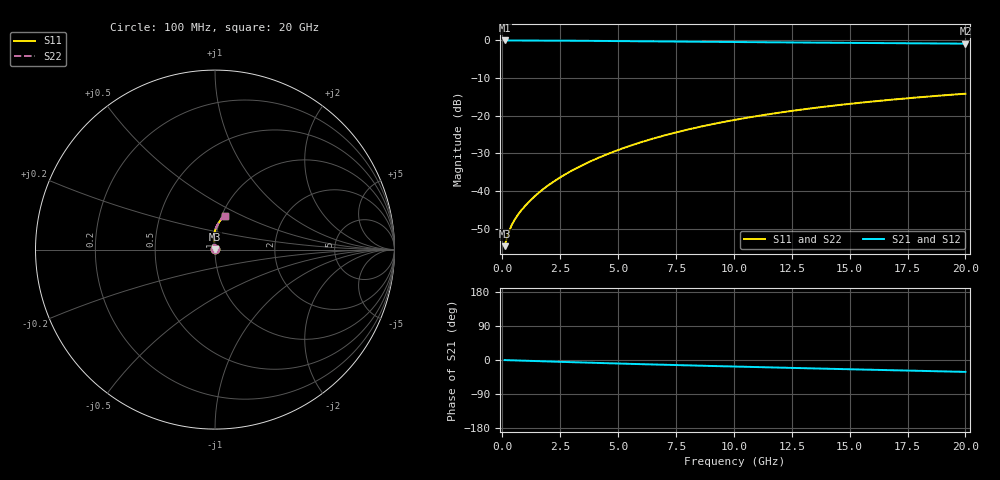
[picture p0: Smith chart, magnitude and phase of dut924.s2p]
! Touchstone file exported from HFSS 2024.1.0
!  File:  C:/UserFiles/LocalFiles/RDL_TSV_Batchsim/temp_RDL_bottom_924_1779941070.aedt
!  Generated:  12:06:41 PM May 28, 2026
!  Design:  RDL_bottom
!  Project:  temp_RDL_bottom_924_1779941070
!  Setup:  Setup1
!  Solution:  Sweep
! Variables:
!  dtsv = 10.80580581um
!  hbump = 3um
!  htsv = 81.93um
!  ldown = 518.79um
!  lrdl = 100um
!  p = 40
!  p1 = 43.02um
!  rhole = 1um
!  t = 450um
!  tdown = 4.53um
!  trdl = 3.915915916um
!  wdown = 28.62um
!  wrdl = 20um
# GHz S MA R 50.000000
! Terminal data exported
! Port[1] = RDL1_T1
! Port[2] = RDL1_T2
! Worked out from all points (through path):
!   200 points, 100 MHz to 20 GHz, reference 50 ohm
!   highest |S21| = -0.01 dB at 100 MHz (marker M1); lowest = -0.9 dB at 20 GHz (marker M2)
!   group delay of S21, straight-line fit = 4.28 ps
!   lowest |S11| = -54.6 dB at 100 MHz (marker M3), VSWR 1.00, Z = 50.2 + j0.0831 ohm
!   |S11| at or under -10 dB: start of sweep to end of sweep
!   |S22| runs from -54.6 to -14.1 dB; largest |S21 - S12| = 4.1e-15
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0.1  0.001861 26.4  0.9983 -0.2  0.9983 -0.2  0.001861 26.4
! Gamma 0 0 0 0
! Port Impedance 50 0 50 0
0.2  0.002403 41.0  0.9981 -0.4  0.9981 -0.4  0.002402 41.0
0.3  0.002974 48.5  0.9979 -0.6  0.9979 -0.6  0.002973 48.4
0.4  0.003508 53.3  0.9977 -0.8  0.9977 -0.8  0.003506 53.3
0.5  0.004008 57.1  0.9976 -1.0  0.9976 -1.0  0.004005 57.1
0.6  0.004491 60.4  0.9974 -1.2  0.9974 -1.2  0.004487 60.4
0.8  0.005452 66.0  0.9971 -1.6  0.9971 -1.6  0.005447 66.0
1.1  0.006951 72.7  0.9966 -2.2  0.9966 -2.2  0.006946 72.7
1.6  0.009665 80.6  0.9954 -3.1  0.9954 -3.1  0.009662 80.7
2.1  0.01265 86.0  0.9938 -4.1  0.9938 -4.1  0.01265 86.1
2.8  0.01727 91.1  0.9911 -5.4  0.9911 -5.4  0.01727 91.1
3.5  0.02241 94.3  0.9879 -6.7  0.9879 -6.7  0.02242 94.3
4.2  0.02806 96.3  0.9843 -7.9  0.9843 -7.9  0.02808 96.3
5  0.03509 97.5  0.9799 -9.3  0.9799 -9.3  0.03512 97.5
5.9  0.04364 97.8  0.9747 -10.8  0.9747 -10.8  0.04368 97.9
6.8  0.05274 97.4  0.9694 -12.3  0.9694 -12.3  0.0528 97.5
8.4  0.06988 95.6  0.9602 -14.8  0.9602 -14.8  0.06997 95.7
10.1  0.08887 92.8  0.9508 -17.4  0.9508 -17.4  0.08898 92.9
11.7  0.107 89.8  0.9426 -19.7  0.9426 -19.7  0.1071 89.9
13.4  0.1261 86.5  0.9343 -22.2  0.9343 -22.2  0.1263 86.5
16.7  0.1622 80.1  0.9195 -26.8  0.9195 -26.8  0.1624 80.1
20  0.1962 74.0  0.9056 -31.4  0.9056 -31.4  0.1964 74.1
